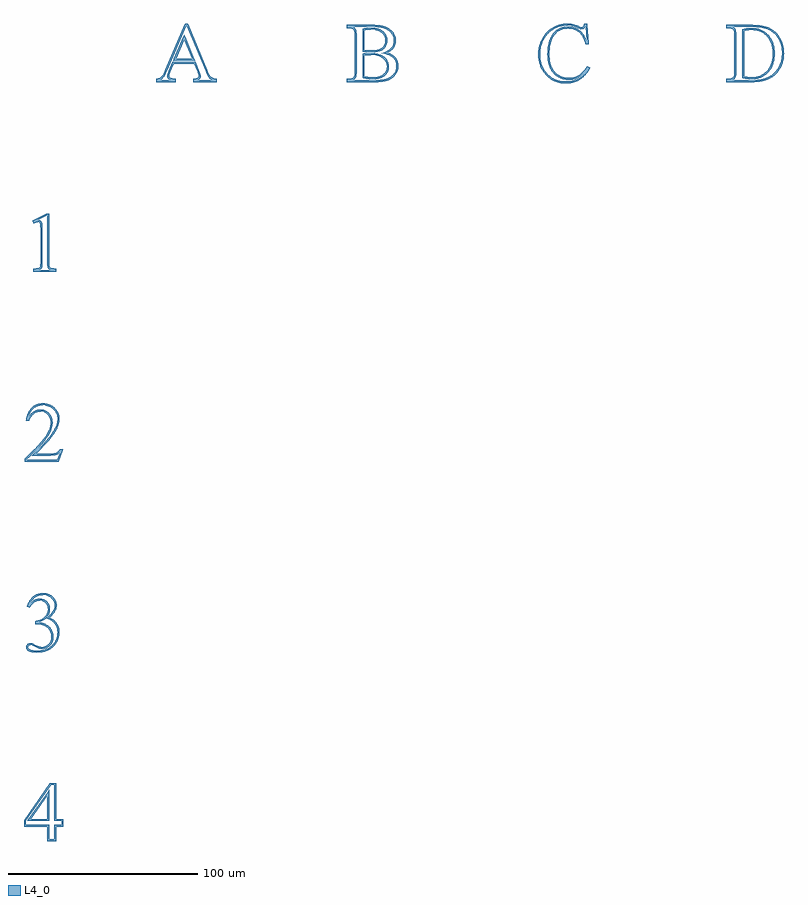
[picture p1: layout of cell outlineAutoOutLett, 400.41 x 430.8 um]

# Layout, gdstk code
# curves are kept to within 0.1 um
import gdstk
lib = gdstk.Library(unit=1e-6, precision=1e-09)
def P(c, l, *ps):  # polygons
    for p in ps: c.add(gdstk.Polygon(p, *l))
L4_0 = (4, 0)

outlineautooutlett = lib.new_cell('outlineAutoOutLett')
P(outlineautooutlett, L4_0, [(-64.328,-100.5),(-64.828,-100.5),(-64.828,-99.5),(-55.543,-99.5),(-56.413,-99.175),(-57.035,-98.617),(-57.318,-98.074),(-57.489,-96.931),(-57.547,-70.766),(-62.748,-73.255),(-61.785,-73.282),(-61.034,-73.661),(-60.503,-74.37),(-60.215,-75.568),(-60.094,-79.141),(-60.163,-97.063),(-60.456,-98.378),(-61.434,-99.288),(-62.085,-99.5),(-64.828,-99.5),(-64.829,-98.715),(-62.042,-98.461),(-61.383,-97.977),(-61.201,-97.459),(-61.106,-77.718),(-61.24,-75.418),(-61.669,-74.433),(-62.124,-74.232),(-62.694,-74.258),(-64.748,-75.055),(-65.513,-73.488),(-57.866,-69.766),(-56.547,-69.766),(-56.447,-97.377),(-56.223,-98.034),(-55.613,-98.452),(-52.875,-98.714),(-52.875,-100.5)],
  [(-69.047,-200.5),(-69.547,-200.5),(-69.547,-199.5),(-52.21,-199.5),(-50.746,-195.456),(-51.405,-196.114),(-52.306,-196.677),(-54.101,-197.149),(-65.793,-197.25),(-63.905,-195.494),(-60.579,-191.988),(-55.807,-186.552),(-53.516,-182.991),(-52.864,-181.605),(-52.356,-180.017),(-52.125,-178.433),(-52.247,-176.513),(-52.81,-174.904),(-53.575,-173.723),(-54.904,-172.4),(-56.492,-171.441),(-58.297,-170.899),(-59.898,-170.766),(-61.41,-170.89),(-62.774,-171.262),(-63.711,-171.704),(-64.844,-172.511),(-65.723,-173.421),(-66.424,-174.45),(-66.989,-175.636),(-67.504,-177.339),(-66.783,-176.054),(-65.888,-174.989),(-64.962,-174.238),(-63.747,-173.577),(-62.442,-173.18),(-61.047,-173.047),(-59.502,-173.238),(-58.37,-173.664),(-57.331,-174.332),(-56.392,-175.238),(-55.648,-176.302),(-55.133,-177.494),(-54.846,-178.815),(-54.794,-180.366),(-54.981,-181.828),(-55.391,-183.341),(-56.287,-185.438),(-57.22,-187.07),(-60.328,-191.166),(-63.549,-194.629),(-68.547,-199.5),(-69.547,-199.5),(-69.547,-198.982),(-62.965,-192.585),(-60.594,-189.938),(-58.783,-187.61),(-57.47,-185.533),(-56.531,-183.554),(-55.968,-181.673),(-55.793,-180.327),(-55.999,-178.095),(-56.389,-177.042),(-56.974,-176.105),(-57.735,-175.297),(-58.583,-174.685),(-59.508,-174.276),(-60.509,-174.072),(-62.476,-174.21),(-64.202,-174.936),(-65.168,-175.683),(-65.981,-176.652),(-67.062,-179),(-68.792,-179.001),(-68.318,-176.473),(-67.699,-174.753),(-66.86,-173.272),(-65.799,-172.03),(-64.544,-171.04),(-63.143,-170.333),(-61.188,-169.846),(-59.443,-169.775),(-57.684,-170.002),(-56.079,-170.53),(-54.627,-171.359),(-53.638,-172.178),(-52.533,-173.444),(-51.743,-174.821),(-51.358,-175.926),(-51.12,-177.496),(-51.177,-179.07),(-51.531,-180.814),(-52.867,-183.896),(-54.996,-187.137),(-57.428,-190.041),(-63.247,-196.25),(-55.821,-196.24),(-53.708,-196.086),(-52.738,-195.775),(-52.051,-195.35),(-50.917,-193.891),(-49.114,-193.89),(-51.508,-200.5)],
  [(-63.141,-301.016),(-65.77,-300.809),(-66.926,-300.472),(-67.675,-300.016),(-61.081,-299.895),(-58.651,-299.358),(-57.054,-298.673),(-55.226,-297.385),(-53.905,-295.908),(-52.878,-294.096),(-52.298,-292.096),(-52.156,-290.359),(-52.281,-288.864),(-52.657,-287.5),(-53.284,-286.268),(-54.163,-285.175),(-55.287,-284.244),(-56.364,-283.617),(-58.058,-282.911),(-55.743,-280.767),(-54.801,-279.588),(-54.129,-278.43),(-53.727,-277.291),(-53.594,-276.172),(-53.72,-275.095),(-54.102,-274.059),(-54.592,-273.259),(-55.593,-272.154),(-57.309,-271.168),(-58.33,-270.897),(-59.881,-270.766),(-61.153,-270.858),(-62.586,-271.235),(-63.842,-271.902),(-64.985,-272.902),(-65.932,-274.072),(-66.773,-275.471),(-65.62,-274.256),(-64.354,-273.387),(-63.331,-272.962),(-61.868,-272.699),(-60.397,-272.783),(-59.167,-273.167),(-57.882,-274.016),(-57.019,-275.013),(-56.373,-276.443),(-56.163,-277.827),(-56.274,-279.455),(-56.795,-281.096),(-57.472,-282.221),(-58.806,-283.531),(-60.204,-284.406),(-61.836,-285.084),(-60.144,-285.417),(-58.345,-286.16),(-57.008,-286.984),(-55.934,-288.034),(-55.125,-289.413),(-54.528,-291.15),(-54.328,-292.937),(-54.502,-294.442),(-55.018,-295.816),(-55.879,-297.058),(-57.018,-298.099),(-58.554,-298.879),(-59.968,-299.133),(-61.67,-298.997),(-62.838,-298.608),(-65.326,-297.375),(-66.5,-297.141),(-67.18,-297.333),(-67.671,-297.923),(-67.668,-298.504),(-67.245,-299.08),(-66.61,-299.521),(-65.912,-299.763),(-63.128,-300.016),(-67.675,-300.016),(-68.216,-299.499),(-68.636,-298.75),(-68.676,-297.812),(-68.343,-297.079),(-67.529,-296.381),(-66.721,-296.151),(-65.256,-296.336),(-61.467,-298.018),(-60.013,-298.135),(-58.85,-297.924),(-57.989,-297.539),(-57,-296.786),(-56.163,-295.79),(-55.611,-294.678),(-55.334,-293.199),(-55.504,-291.366),(-56.163,-289.566),(-57.004,-288.311),(-58.489,-287.216),(-60.302,-286.415),(-61.843,-286.088),(-63.812,-286.047),(-63.812,-284.447),(-61.78,-284.011),(-60.169,-283.242),(-58.797,-282.209),(-57.868,-281.002),(-57.334,-279.632),(-57.156,-278.125),(-57.328,-276.738),(-57.97,-275.395),(-58.708,-274.624),(-59.778,-273.993),(-61.022,-273.707),(-62.248,-273.739),(-63.657,-274.155),(-64.632,-274.74),(-65.825,-275.885),(-66.878,-277.397),(-68.411,-276.647),(-67.534,-274.773),(-66.548,-273.216),(-65.426,-271.926),(-64.415,-271.083),(-63.272,-270.438),(-61.67,-269.934),(-60.249,-269.773),(-58.535,-269.854),(-56.571,-270.384),(-55.242,-271.154),(-53.769,-272.691),(-52.888,-274.374),(-52.648,-275.387),(-52.608,-276.567),(-53.098,-278.558),(-54.285,-280.569),(-56.169,-282.602),(-54.6,-283.504),(-53.714,-284.219),(-52.622,-285.462),(-51.981,-286.549),(-51.437,-288.037),(-51.208,-289.33),(-51.315,-292.277),(-51.789,-294.062),(-52.826,-296.107),(-54.106,-297.692),(-55.504,-298.887),(-57.107,-299.817),(-58.914,-300.482),(-60.925,-300.881)],
  [(-56.984,-400.5),(-57.484,-400.5),(-57.484,-399.5),(-53.937,-399.5),(-53.937,-391.812),(-50.031,-391.812),(-50.031,-389.75),(-53.937,-389.75),(-53.937,-370.766),(-55.537,-370.766),(-68.812,-389.72),(-68.812,-391.812),(-56.484,-391.812),(-56.484,-399.5),(-57.484,-399.5),(-57.484,-392.812),(-69.812,-392.812),(-69.812,-389.405),(-56.057,-369.766),(-52.937,-369.766),(-52.937,-388.75),(-49.031,-388.75),(-49.031,-392.812),(-52.937,-392.812),(-52.937,-400.5)],
  [(-68.17,-389.751),(-67.611,-388.961),(-67.462,-388.75),(-57.484,-388.75),(-57.484,-376.37),(-66.237,-388.75),(-67.462,-388.75),(-57.393,-374.508),(-56.484,-373.219),(-56.484,-389.25),(-56.484,-389.75),(-67.203,-389.75)],
  [(0.344,-0.5),(-0.156,-0.5),(-0.156,1.215),(1.337,1.53),(2.23,1.899),(2.884,2.613),(3.743,4.024),(15.06,30.297),(16.474,30.297),(27.313,4.475),(28.107,3.028),(29.057,1.972),(30.207,1.462),(31.781,1.267),(31.781,-0.5),(19.281,-0.5),(19.281,0.5),(29.938,0.5),(28.972,0.862),(28.036,1.522),(27.331,2.397),(26.441,3.985),(15.808,29.297),(4.922,4.14),(3.954,2.407),(3.193,1.423),(2.583,0.951),(1.341,0.5),(7.916,0.5),(6.88,0.814),(6.272,1.228),(5.759,1.978),(5.653,2.871),(6.234,4.919),(8.531,10.25),(20.457,10.25),(23.025,3.9),(23.25,2.578),(23.05,1.712),(22.458,0.988),(21.703,0.596),(19.281,0.5),(19.281,1.275),(21.514,1.584),(22.012,1.943),(22.244,2.463),(21.789,4.467),(19.793,9.25),(9.188,9.25),(7.031,4.209),(6.646,2.518),(6.888,2.024),(7.43,1.659),(10.016,1.261),(10.016,-0.5)],
  [(8.756,10.843),(9.187,11.844),(18.78,11.844),(14.587,21.847),(10.276,11.844),(9.187,11.844),(14.6,24.403),(20.285,10.844)],
  [(100.734,-0.5),(100.234,-0.5),(100.234,0.5),(115.654,0.514),(118.683,0.72),(121.32,1.274),(123.401,2.323),(124.987,3.869),(125.715,5.035),(126.117,5.993),(126.438,7.969),(126.318,9.242),(125.958,10.413),(125.357,11.483),(124.334,12.612),(123.256,13.337),(122.184,13.821),(118.391,14.78),(120.768,15.559),(122.546,16.492),(123.862,17.743),(124.705,19.222),(125.075,20.861),(125.069,21.941),(124.872,23.055),(124.05,24.844),(122.862,26.202),(121.548,27.12),(120.291,27.699),(118.85,28.139),(117.105,28.445),(114.171,28.633),(103.258,28.641),(104.224,28.151),(104.877,27.459),(105.224,26.516),(105.396,25.256),(105.438,5.156),(105.358,3.449),(105.005,1.927),(104.367,1.115),(103.252,0.5),(114.486,0.5),(100.234,0.5),(100.234,1.297),(102.568,1.356),(103.433,1.664),(103.867,2.016),(104.283,2.935),(104.438,5.156),(104.438,23.984),(104.289,26.097),(103.993,26.989),(103.076,27.647),(102.186,27.831),(100.234,27.844),(100.234,29.641),(114.201,29.632),(117.254,29.434),(119.087,29.111),(120.676,28.622),(122.069,27.974),(123.267,27.167),(124.489,25.936),(125.515,24.237),(126.029,22.362),(126.043,20.493),(125.531,18.603),(124.654,17.132),(123.456,15.924),(121.92,14.97),(123.78,14.188),(125.201,13.177),(126.379,11.751),(127.122,10.141),(127.428,8.349),(127.294,6.535),(126.614,4.598),(125.591,3.018),(124.488,1.899),(122.888,0.851),(121.317,0.225),(119.322,-0.2),(115.698,-0.485)],
  [(113.125,15.234),(110.336,15.348),(108.563,15.62),(108.563,16.234),(115.186,16.323),(116.809,16.59),(118.32,17.211),(119.411,18.144),(120.295,19.727),(120.594,21.531),(120.328,23.178),(119.695,24.407),(118.919,25.296),(117.897,26.077),(116.637,26.655),(115.143,27.023),(113.415,27.181),(111.591,27.137),(109.563,26.83),(109.563,16.451),(113.127,16.234),(108.563,16.234),(108.562,27.601),(110.824,28.066),(112.938,28.188),(114.908,28.066),(116.632,27.705),(118.111,27.103),(119.343,26.26),(120.528,24.958),(121.275,23.496),(121.584,21.875),(121.466,20.225),(120.899,18.604),(119.883,17.18),(118.459,16.143),(117.105,15.635),(115.336,15.335)],
  [(113.984,1.031),(110.223,1.364),(108.563,1.712),(108.563,2.031),(115.73,2.133),(117.585,2.547),(119.087,3.279),(120.406,4.507),(120.989,5.447),(121.273,6.214),(121.44,7.996),(120.973,9.881),(120.373,10.963),(119.487,11.897),(118.291,12.666),(117.312,13.088),(115.592,13.534),(114.295,13.696),(109.563,13.618),(109.563,2.51),(111.79,2.151),(113.993,2.031),(108.563,2.031),(108.563,14.461),(110.561,14.703),(113.651,14.735),(115.111,14.617),(117.07,14.217),(118.762,13.548),(120.15,12.646),(121.192,11.536),(121.896,10.268),(122.391,8.513),(122.374,6.589),(121.898,5.029),(120.991,3.647),(119.665,2.464),(117.969,1.624),(115.903,1.149)],
  [(215.766,-1.172),(212.653,-0.903),(210.042,-0.172),(216.72,-0.145),(218.522,0.071),(220.19,0.504),(222.087,1.349),(223.461,2.273),(224.904,3.607),(226.243,5.258),(224.385,3.291),(222.636,2.002),(220.824,1.22),(218.819,0.799),(216.535,0.744),(214.156,1.124),(211.987,1.959),(210.057,3.242),(208.726,4.621),(207.655,6.278),(206.724,8.585),(206.236,10.729),(205.99,13.575),(206.071,16.421),(206.422,19.075),(207.043,21.424),(207.735,23.093),(208.572,24.552),(209.542,25.784),(210.647,26.788),(211.876,27.567),(213.519,28.261),(214.916,28.599),(216.766,28.75),(218.515,28.621),(220.137,28.234),(221.631,27.59),(222.998,26.689),(224.059,25.686),(225.007,24.445),(225.841,22.966),(226.563,21.251),(226.034,29.048),(225.296,27.839),(224.833,27.5),(224.129,27.291),(223.3,27.413),(219.812,28.825),(217.181,29.274),(214.026,29.107),(210.876,28.206),(207.991,26.576),(205.91,24.677),(204.229,22.331),(202.989,19.616),(202.212,16.19),(202.094,14.109),(202.194,12.192),(202.497,10.372),(203.001,8.648),(204.291,5.989),(205.453,4.375),(206.505,3.243),(207.656,2.273),(209.233,1.288),(210.606,0.682),(212.461,0.151),(215.75,-0.172),(210.042,-0.172),(209.489,0.056),(208.064,0.797),(206.431,1.968),(204.963,3.41),(203.789,4.928),(202.819,6.562),(202.065,8.297),(201.526,10.133),(201.202,12.071),(201.094,14.109),(201.22,16.313),(201.479,17.905),(202.045,19.947),(202.862,21.896),(203.635,23.285),(205.509,25.718),(207.813,27.674),(210.491,29.129),(212.387,29.778),(213.862,30.094),(217.239,30.272),(218.863,30.072),(220.474,29.672),(223.945,28.281),(224.448,28.431),(224.802,28.807),(225.335,30.297),(226.952,30.297),(227.691,19.391),(226.112,19.39),(225.298,21.746),(224.457,23.438),(223.484,24.824),(222.377,25.905),(220.158,27.166),(217.575,27.721),(216.081,27.728),(214.451,27.483),(212.925,26.967),(211.509,26.178),(210.254,25.081),(209.382,23.965),(208.625,22.637),(207.984,21.086),(207.397,18.855),(207.03,15.779),(207.028,12.671),(207.374,10.077),(207.927,8.138),(208.895,6.119),(210.195,4.473),(211.535,3.381),(213.411,2.415),(215.489,1.863),(218.045,1.737),(219.925,2.007),(221.886,2.733),(223.487,3.831),(224.917,5.249),(227.029,7.945),(228.495,6.991),(227.082,4.714),(225.805,3.112),(224.433,1.776),(222.965,0.707),(221.374,-0.115),(219.644,-0.702),(217.775,-1.054)],
  [(300.75,-0.5),(300.25,-0.5),(300.25,0.5),(315.78,0.569),(317.647,0.775),(319.792,1.226),(322.789,2.394),(324.39,3.404),(325.782,4.628),(326.87,5.912),(327.913,7.548),(328.705,9.321),(329.247,11.231),(329.539,13.278),(329.586,15.264),(329.399,17.362),(328.962,19.328),(328.274,21.164),(327.595,22.454),(326.521,23.997),(325.289,25.302),(323.898,26.369),(322.75,27.013),(319.974,27.959),(316.323,28.5),(313.402,28.635),(303.277,28.641),(304.071,28.274),(304.813,27.6),(305.122,26.946),(305.35,25.802),(305.438,5.156),(305.315,3.056),(305.023,1.958),(304.391,1.127),(303.273,0.5),(313.779,0.5),(300.25,0.5),(300.25,1.297),(302.593,1.357),(303.331,1.6),(303.881,2.031),(304.271,2.887),(304.438,5.156),(304.438,23.984),(304.296,26.11),(303.965,27.064),(303.096,27.649),(302.202,27.832),(300.25,27.844),(300.25,29.641),(313.427,29.635),(318.461,29.259),(320.8,28.782),(322.747,28.115),(324.435,27.212),(326.3,25.724),(328.178,23.41),(329.581,20.624),(330.292,18.068),(330.594,14.719),(330.354,11.712),(329.639,8.961),(328.446,6.466),(326.505,3.937),(325.012,2.622),(322.936,1.348),(320.968,0.541),(318.32,-0.125),(314.838,-0.481)],
  [(313.64,1),(311.519,1.155),(309.637,1.476),(308.563,1.708),(308.563,2),(314.239,2.013),(315.93,2.209),(318.006,2.837),(320.316,4.211),(322.289,6.228),(323.706,8.756),(324.507,11.758),(324.703,14.5),(324.507,17.267),(323.707,20.283),(322.931,21.857),(322.29,22.808),(320.311,24.808),(317.965,26.17),(315.266,26.883),(312.577,26.968),(309.563,26.483),(309.563,2.512),(311.793,2.128),(313.649,2),(308.563,2),(308.562,27.264),(311.337,27.84),(313.469,28),(316.033,27.772),(318.356,27.09),(320.437,25.955),(322.277,24.367),(323.775,22.392),(324.845,20.089),(325.488,17.459),(325.703,14.5),(325.488,11.568),(324.846,8.951),(323.776,6.65),(322.279,4.666),(320.45,3.063),(318.4,1.918),(316.13,1.23)])

lib.write_gds('outlineAutoOutLett.gds')
